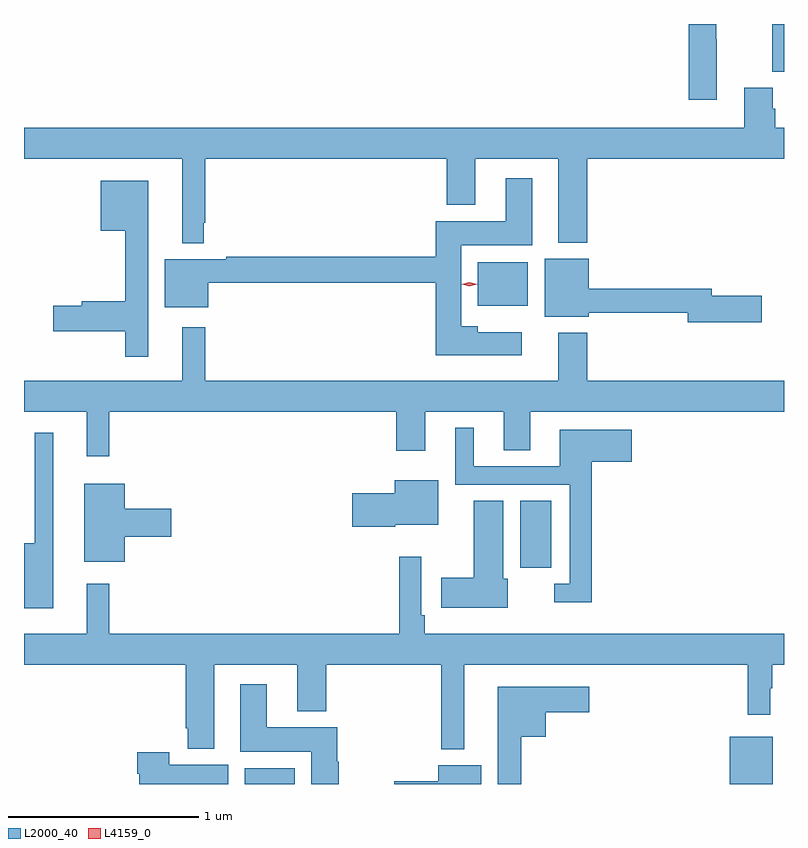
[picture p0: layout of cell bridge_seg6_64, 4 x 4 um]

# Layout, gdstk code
import gdstk
lib = gdstk.Library(unit=1e-6, precision=1e-09)
def R(c, l, rs):  # rectangles x0, y0, x1, y1
    for r in rs: c.add(gdstk.rectangle(r[:2], r[2:], *l))
def P(c, l, *ps):  # polygons
    for p in ps: c.add(gdstk.Polygon(p, *l))
L2000_40 = (2000, 40)
L4159_0 = (4159, 0)

bridge_seg6_64 = lib.new_cell('bridge_seg6_64')
R(bridge_seg6_64, L2000_40, [(646.529,926.729,646.792,926.812), (649.082,926.729,649.309,926.977), (647.978,927.867,648.142,928.22), (647.756,929.246,648.019,929.476), (649.304,930.478,649.367,930.729)])
P(bridge_seg6_64, L2000_40, [(649.012,930.65),(649.011,930.65),(649.011,930.729),(648.866,930.729),(648.866,930.33),(649.012,930.33)],
  [(645.367,930.02),(646.199,930.02),(646.199,929.576),(646.314,929.576),(646.314,929.683),(646.321,929.683),(646.321,930.02),(647.591,930.02),(647.591,929.777),(647.743,929.777),(647.743,930.02),(648.179,930.02),(648.179,929.579),(648.332,929.579),(648.332,930.02),(649.367,930.02),(649.367,930.184),(649.322,930.184),(649.322,930.284),(649.309,930.284),(649.309,930.393),(649.157,930.393),(649.157,930.184),(645.367,930.184)],
  [(647.986,929.107),(647.755,929.107),(647.755,929.137),(647.668,929.137),(647.668,929.564),(648.043,929.564),(648.043,929.917),(647.903,929.917),(647.903,929.692),(647.534,929.692),(647.534,929.504),(646.432,929.504),(646.432,929.491),(646.109,929.491),(646.109,929.237),(646.336,929.237),(646.336,929.368),(647.534,929.368),(647.534,928.985),(647.986,928.985)],
  [(646.021,929.905),(645.77,929.905),(645.77,929.642),(645.9,929.642),(645.9,929.271),(645.671,929.271),(645.671,929.246),(645.522,929.246),(645.522,929.111),(645.9,929.111),(645.9,928.977),(646.021,928.977)],
  [(649.249,929.3),(648.988,929.3),(648.988,929.336),(648.34,929.336),(648.34,929.494),(648.107,929.494),(648.107,929.189),(648.34,929.189),(648.34,929.208),(648.86,929.208),(648.86,929.158),(649.249,929.158)],
  [(646.321,929.134),(646.199,929.134),(646.199,928.852),(645.367,928.852),(645.367,928.688),(645.698,928.688),(645.698,928.455),(645.815,928.455),(645.815,928.688),(647.327,928.688),(647.327,928.482),(647.479,928.482),(647.479,928.688),(647.891,928.688),(647.891,928.486),(648.031,928.486),(648.031,928.688),(649.367,928.688),(649.367,928.852),(648.332,928.852),(648.332,929.104),(648.179,929.104),(648.179,928.852),(646.321,928.852)],
  [(648.356,928.424),(648.565,928.424),(648.565,928.594),(648.188,928.594),(648.188,928.401),(647.734,928.401),(647.734,928.603),(647.636,928.603),(647.636,928.305),(648.24,928.305),(648.24,927.783),(648.159,927.783),(648.159,927.686),(648.356,927.686)],
  [(645.52,928.579),(645.423,928.579),(645.423,927.997),(645.367,927.997),(645.367,927.653),(645.52,927.653)],
  [(647.322,928.094),(647.548,928.094),(647.548,928.327),(647.318,928.327),(647.318,928.26),(647.094,928.26),(647.094,928.082),(647.322,928.082)],
  [(645.898,928.031),(646.141,928.031),(646.141,928.178),(645.898,928.178),(645.898,928.309),(645.683,928.309),(645.683,927.899),(645.898,927.899)],
  [(647.914,927.81),(647.89,927.81),(647.89,928.22),(647.735,928.22),(647.735,927.814),(647.562,927.814),(647.562,927.656),(647.914,927.656)],
  [(647.683,927.356),(649.177,927.356),(649.177,927.093),(649.294,927.093),(649.294,927.233),(649.306,927.233),(649.306,927.356),(649.367,927.356),(649.367,927.52),(647.477,927.52),(647.477,927.616),(647.457,927.616),(647.457,927.925),(647.341,927.925),(647.341,927.52),(645.815,927.52),(645.815,927.784),(645.698,927.784),(645.698,927.52),(645.367,927.52),(645.367,927.356),(646.217,927.356),(646.217,927.022),(646.229,927.022),(646.229,926.915),(646.369,926.915),(646.369,927.356),(646.805,927.356),(646.805,927.113),(646.958,927.113),(646.958,927.356),(647.562,927.356),(647.562,926.912),(647.683,926.912)],
  [(647.023,926.847),(647.015,926.847),(647.015,927.028),(646.645,927.028),(646.645,927.253),(646.505,927.253),(646.505,926.9),(646.88,926.9),(646.88,926.729),(647.023,926.729)],
  [(647.983,926.978),(648.112,926.978),(648.112,927.107),(648.343,927.107),(648.343,927.241),(647.861,927.241),(647.861,926.729),(647.983,926.729)],
  [(646.441,926.83),(646.132,926.83),(646.132,926.896),(645.962,926.896),(645.962,926.783),(645.974,926.783),(645.974,926.729),(646.441,926.729)],
  [(647.773,926.827),(647.546,926.827),(647.546,926.744),(647.316,926.744),(647.316,926.729),(647.773,926.729)])
P(bridge_seg6_64, L4159_0, [(647.711,929.349),(647.671,929.359),(647.671,929.359),(647.671,929.359),(647.711,929.369),(647.752,929.359),(647.752,929.359),(647.752,929.359)])

lib.write_gds('bridge_seg6_64.gds')
